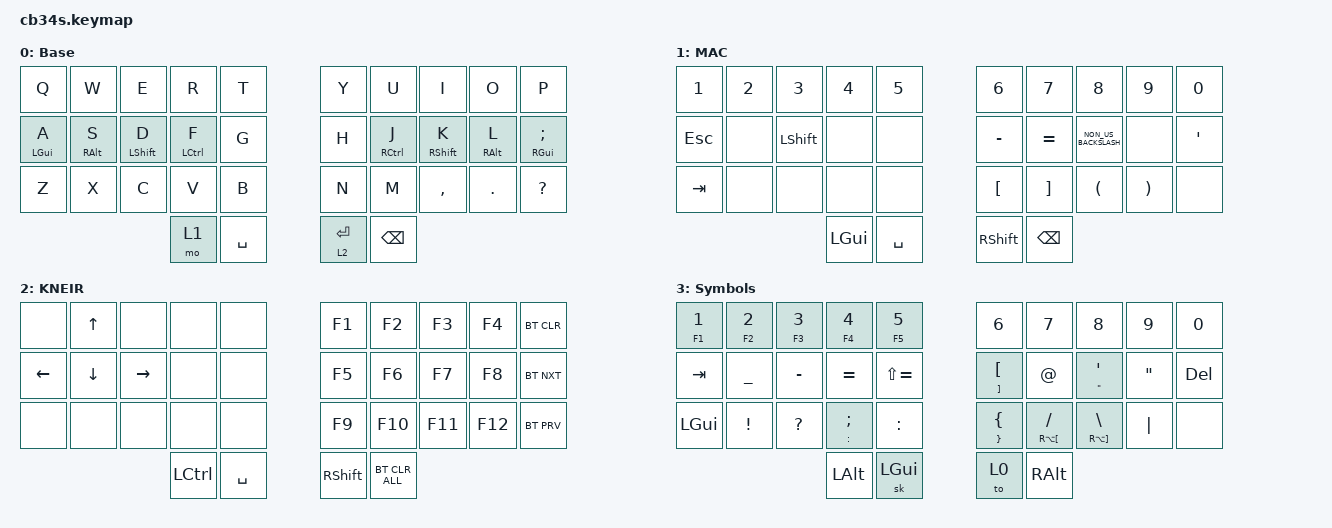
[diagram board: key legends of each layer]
/*
 * Copyright (c) 2020 The ZMK Contributors
 *
 * SPDX-License-Identifier: MIT
 */

#include <behaviors.dtsi>
#include <dt-bindings/zmk/bt.h>
#include <dt-bindings/zmk/keys.h>
#include "keymap_eurkey_swiss_de.h"

#define DEFAULT_L 	0
#define MAC_L	    1
#define KNEIR_L     2
#define NUMSYM_L 	3
#define NAV_L 		4
#define BLE_L 		5
#define COMFY_L		6
#define NUMBERS_L	7
#define COMMA_L	    8

// Using layer taps on thumbs, having quick tap as well helps w/ repeating space/backspace

&lt { quick_tap_ms = <200>; };

// Sticky Layer Behavior - release sticky behavior after x ms

&sk { release-after-ms = <1800>; };

// MACROS
// ===========================================================================================================
/*
	.----------------------------------------------------------------------.
	|  0  |  1  |  2  |  3  |  4  |          |  5  |  6  |  7  |  8  |  9  |
	|  10 |  11 |  12 |  13 |  14 |          |  15 |  16 |  17 |  18 |  19 |
	|  20 |  21 |  22 |  23 |  24 |          |  25 |  26 |  27 |  28 |  29 |
	'-----------------\  30 |  31 |          |  32 |  33 /-----------------'
	                   '--------------------------------'

*/

/ {
    macros {
        macro_sch: macro_sch {
            label = "Macro_sch";
            compatible = "zmk,behavior-macro";
            #binding-cells = <0>;
            bindings =
                <&macro_tap>,
                <&kp S>,
                <&macro_release>,
                <&kp RSHIFT>,
                <&macro_tap>,
                <&kp C &kp H>;

            tap-ms = <20>;
        };

        macro_ch: macro_ch {
            label = "Macro_ch";
            compatible = "zmk,behavior-macro";
            #binding-cells = <0>;
            bindings =
                <&macro_tap>,
                <&kp C>,
                <&macro_release>,
                <&kp RSHIFT>,
                <&macro_tap>,
                <&kp H>;

            tap-ms = <20>;
        };

        macro_zu: macro_zu {
            label = "Macro_zu";
            compatible = "zmk,behavior-macro";
            #binding-cells = <0>;
            bindings =
                <&macro_tap>,
                <&kp Z>,
                <&macro_release>,
                <&kp RSHIFT>,
                <&macro_tap>,
                <&kp U>;

            tap-ms = <20>;
        };
    };
};

// COMBOS
// ===========================================================================================================
/*
	.----------------------------------------------------------------------.
	|  0  |  1  |  2  |  3  |  4  |          |  5  |  6  |  7  |  8  |  9  |
	|  10 |  11 |  12 |  13 |  14 |          |  15 |  16 |  17 |  18 |  19 |
	|  20 |  21 |  22 |  23 |  24 |          |  25 |  26 |  27 |  28 |  29 |
	'-----------------\  30 |  31 |          |  32 |  33 /-----------------'
	                   '--------------------------------'
			
	ESC 	= 0 | 1			
	TAB 	= 11 | 12		LC(C)	= 17 | 18
							LC(V)	= 27 | 28
	ENTER 	= 12 | 13		SK(SFT) = 16 | 17       
	LPAR 	= 13 | 14		RPAR 	= 15 | 16       REPEAT 	= 18 | 19

	TO_4	= 21 | 22
	TO_0	= 22 | 23       TO_0	= 26 | 27 
	TO_3	= 20 | 21 | 22	TO_3	= 27 | 28 | 29
    TO_5    = 3  | 13       TO_5    = 6  | 16

*/

/ {
    combos {
        compatible = "zmk,combos";

        combo_esc {
            timeout-ms = <40>;
            key-positions = <0 1>;
            bindings = <&kp ESC>;
        };

        combo_tab {
            timeout-ms = <40>;
            key-positions = <11 12>;
            bindings = <&kp TAB>;
        };

        combo_enter {
            timeout-ms = <40>;
            key-positions = <12 13>;
            bindings = <&kp ENTER>;
        };

        combo_lpar {
            timeout-ms = <40>;
            key-positions = <13 14>;
            bindings = <&kp LPAR>;
        };

        combo_rpar {
            timeout-ms = <40>;
            key-positions = <15 16>;
            bindings = <&kp RPAR>;
        };

        combo_comfy_left {
            timeout-ms = <40>;
            key-positions = <21 22>;
            bindings = <&to 0>;
            layers = <0 2 3>;
        };

        combo_comfy_right {
            timeout-ms = <40>;
            key-positions = <27 28>;
            bindings = <&to 0>;
            layers = <0 2 3>;
        };

        combo_default_left {
            timeout-ms = <40>;
            key-positions = <22 23>;
            bindings = <&to 0>;
        };

        combo_sk_shift {
            timeout-ms = <40>;
            key-positions = <16 17>;
            bindings = <&sk LSHIFT>;
        };

        combo_ble_left {
            timeout-ms = <40>;
            key-positions = <20 21 22>;
            bindings = <&to 0>;
        };

        // CHECK

        combo_repeat {
            timeout-ms = <40>;
            key-positions = <18 19>;
            bindings = <&key_repeat>;
        };

        combo_default_left_MAC {
            timeout-ms = <40>;
            key-positions = <22 23>;
            bindings = <&to 1>;
            layers = <1>;
        };

        combo_comfy_left_MAC {
            timeout-ms = <40>;
            key-positions = <21 22>;
            bindings = <&to 0>;
            layers = <1>;
        };

        // BASE LAYERS

        combo_kneir_mac_layer {
            timeout-ms = <40>;
            key-positions = <6 9>;
            bindings = <&to 1>;
            layers = <0 2 3>;
        };

        combo_kneir_win_layer {
            timeout-ms = <40>;
            key-positions = <10 13>;
            bindings = <&to 2>;
            layers = <0 1 2 3>;
        };

        combo_qwerty_win_layer {
            timeout-ms = <40>;
            key-positions = <0 3>;
            bindings = <&to 0>;
            layers = <1 2>;
        };

        combo_number_layer_left {
            timeout-ms = <40>;
            key-positions = <20 23>;
            bindings = <&to 0>;
        };

        // SYMBOLS

        combo_dot {
            timeout-ms = <40>;
            key-positions = <26 27>;
            bindings = <&kp DOT>;
            layers = <2>;
        };

        combo_letter_percent {
            timeout-ms = <40>;
            key-positions = <27 28 29>;
            bindings = <&kp PERCENT>;
            layers = <2>;
        };

        // ALPHAS

        combo_letter_q {
            timeout-ms = <40>;
            key-positions = <1 2>;
            bindings = <&kp Q>;
            layers = <2>;
        };

        combo_letter_p {
            timeout-ms = <40>;
            key-positions = <2 3>;
            bindings = <&kp P>;
            layers = <2>;
        };

        combo_letter_b {
            timeout-ms = <40>;
            key-positions = <22 23>;
            bindings = <&kp B>;
            layers = <2>;
        };

        combo_letter_j {
            timeout-ms = <40>;
            key-positions = <6 7>;
            bindings = <&kp J>;
            layers = <2>;
        };

        combo_letter_k {
            timeout-ms = <40>;
            key-positions = <27 28>;
            bindings = <&kp K>;
        };

        // MACROS

        combo_sch {
            timeout-ms = <40>;
            key-positions = <2 11>;
            bindings = <&macro_sch>;
            layers = <2>;
        };

        combo_ch {
            timeout-ms = <40>;
            key-positions = <2 13>;
            bindings = <&macro_ch>;
            layers = <2>;
        };

        combo_zu {
            timeout-ms = <40>;
            key-positions = <7 8>;
            bindings = <&macro_zu>;
            layers = <2>;
        };
    };

    // BEHAVIOR    
    // ===========================================================================================================

    behaviors {
        hm: homerow_mods {
            compatible = "zmk,behavior-hold-tap";
            label = "homerow mods";
            #binding-cells = <2>;
            tapping_term_ms = <170>;
            quick_tap_ms = <0>;
            flavor = "tap-preferred";
            bindings = <&kp>, <&kp>;
        };
    };

    // KEYMAP
    // ===========================================================================================================
    // -----------------------------------------------------------------------------
    /* 0 = Default
        .----------------------------------------------------------------------.
        |Q DEL|  W  |  E  |  R  |  T  |          |  Y  |  U  |  I  |  O  |  P  |
        |  A  |  S  |  D  |  F  |  G  |          |  H  |  J  |  K  |  L  |BKSPC|
        |  Z  |  X  |  C  |  V  |  B  |          |  N  |  M  |  ,  |  .  |MO_3 |
        '-----------------\ CTRL| SPC |          | SFT | LALT/-----------------'
                           '--------------------------------'
    */

    keymap {
        compatible = "zmk,keymap";

        default_layer {
            label = "Base";
            bindings = <
&kp Q           &kp W            &kp E             &kp R        &kp T      &kp Y        &kp U          &kp I              &kp O            &kp P
&mt LEFT_GUI A  &mt RIGHT_ALT S  &mt LEFT_SHIFT D  &mt LCTRL F  &kp G      &kp H        &mt RCTRL J    &mt RIGHT_SHIFT K  &mt RIGHT_ALT L  &mt RIGHT_GUI SEMICOLON
&kp Z           &kp X            &kp C             &kp V        &kp B      &kp N        &kp M          &kp COMMA          &kp DOT          &kp QUESTION
                                                   &mo 1        &kp SPACE  &lt 2 ENTER  &kp BACKSPACE
            >;
        };

        // ===========================================================================================================
        // -----------------------------------------------------------------------------
        /* 1 = Default MAC
        .----------------------------------------------------------------------.
        |Q DEL|  W  |  C  |  V  |  X  |          |  J  |  F  |  U  |  O  |  Z  |
        |  A  |  S  |  T  |  R  |  B  |          |  K  |  N  |  E  |  I  |  H  |
        |  Y  |  G  |  L  |  D  |  P  |          |  .  |BKSPC|  K  |  ,  |MO_3 |
        '-----------------\ CTRL| SPC |          | SFT | RALT/-----------------'
                           '--------------------------------'
        */

        MAC_layer {
            label = "MAC";
            bindings = <
&kp NUMBER_1  &kp NUMBER_2  &kp NUMBER_3    &kp NUMBER_4  &kp N5     &kp NUMBER_6      &kp N7             &kp N8                &kp N9                 &kp N0
&kp ESCAPE    &none         &kp LEFT_SHIFT  &none         &none      &kp MINUS         &kp EQUAL          &kp NON_US_BACKSLASH  &none                  &kp SQT
&kp TAB       &none         &none           &none         &none      &kp LEFT_BRACKET  &kp RIGHT_BRACKET  &kp LEFT_PARENTHESIS  &kp RIGHT_PARENTHESIS  &none
                                            &kp LGUI      &kp SPACE  &kp RSHIFT        &kp BACKSPACE
            >;
        };

        // ===========================================================================================================
        // -----------------------------------------------------------------------------
        /* 2 = KNEIR Layout
        .----------------------------------------------------------------------.
        |Q DEL|  W  |  C  |  V  |  X  |          |  J  |  F  |  U  |  O  |  Z  |
        |  A  |  S  |  T  |  R  |  B  |          |  K  |  N  |  E  |  I  |  H  |
        |  Y  |  G  |  L  |  D  |  P  |          |  .  |BKSPC|  K  |  ,  |MO_3 |
        '-----------------\ CTRL| SPC |          | SFT | RALT/-----------------'
                           '--------------------------------'
        */

        KNEIR_layer {
            label = "KNEIR";
            bindings = <
&none           &kp UP_ARROW    &none      &none      &none      &kp F1      &kp F2          &kp F3   &kp F4   &bt BT_CLR
&kp LEFT_ARROW  &kp DOWN_ARROW  &kp RIGHT  &none      &none      &kp F5      &kp F6          &kp F7   &kp F8   &bt BT_NXT
&none           &none           &none      &none      &none      &kp F9      &kp F10         &kp F11  &kp F12  &bt BT_PRV
                                           &kp LCTRL  &kp SPACE  &kp RSHIFT  &bt BT_CLR_ALL
            >;
        };

        // ===========================================================================================================
        // -----------------------------------------------------------------------------
        /* 3 = Numbers and Symbols
        .----------------------------------------------------------------------.
        | 1 F1|2 F2 |3 F3 |4 F4 |5 F5 |          |  6  |  7  |  8  |  9  |  0  |
        | TAB |  _  |  -  |  =  |  +  |          | [ ] |  @  | ' " |  "  | DEL |
        | LGUI|  !  |  ?  | ; : |  :  |          | { } | / « | \ » |  |  |     |
        '-----------------\ LALT| SFT |          |TO_4 |     /-----------------'
                           '--------------------------------'
        */

        numsym_layer {
            label = "Symbols";
            bindings = <
&mt F1 N1  &mt F2 N2  &mt F3 N3  &mt F4 N4       &mt F5 N5      &kp N6         &kp N7             &kp N8             &kp N9    &kp N0
&kp TAB    &kp UNDER  &kp MINUS  &kp EQUAL       &kp LS(EQUAL)  &mt RBKT LBKT  &kp AT             &mt DQT SQT        &kp DQT   &kp DEL
&kp LGUI   &kp EXCL   &kp QMARK  &mt COLON SEMI  &kp COLON      &mt RBRC LBRC  &mt RA(LBKT) FSLH  &mt RA(RBKT) BSLH  &kp PIPE  &none
                                 &kp LALT        &sk LEFT_GUI   &to 0          &kp RALT
            >;
        };

        // ===========================================================================================================
        // -----------------------------------------------------------------------------
        /* 4 = Navigation
        .----------------------------------------------------------------------.
        | ESC |  O  |  E  |  R  |  P  |          |PGUP | ← ← |  ↑  | → → | DEL |
        | DEL |  S  |  D  |  F  |  L  |          |PGDN |  ←  |  ↓  |  →  |BKSPC|
        | SFT |  X  |  C  |  V  |TO_0 |          |HOME |  `  |  ~  |     |TO_0 |
        '-----------------\ CTRL| SPC |          |SHFT |CTRL /-----------------'
                           '--------------------------------'
        */
        // ===========================================================================================================
        // -----------------------------------------------------------------------------
        /* 5 = Bluetooth
        .----------------------------------------------------------------------.
        | BT0 | BT1 | BT2 | BTP | BTN |     	 | BTN | BTP | BT2 | BT1 | BT0 |
        |     |     |     |     | BLC |     	 | BLC |     |     |     |     |
        |TO_0 |     |     |     | BLO |          | BLO |     |     |	 |TO_0 |
        '-----------------\     |TO_0 |          |TO_0 |     /-----------------'
                           '--------------------------------'
        */
        // ===========================================================================================================
        // -----------------------------------------------------------------------------
        /* 6 = Comfort
        .----------------------------------------------------------------------.
        | TIL |PGUP |  ↑  |PGDN |  ^  |     	 |PGUP | ← ← |  ↑  | → → | DEL |
        | DEL |  ←  |  ↓  |  →  |  <  |     	 |PGDN |  ←  |  ↓  |  →  |BKSPC|
        | SFT | DEL |BKSPC|     |  >  |          |HOME |  `  |  ~  |     |TO_0 |
        '-----------------\ CTRL| SPC |          |SHFT |CTRL /-----------------'
                           '--------------------------------'
        */
        // ===========================================================================================================
        // -----------------------------------------------------------------------------
        /* 7 = Numbers
        .----------------------------------------------------------------------.
        |  /  |  7  |  8  |  9  |  *  |     	 |  #  | ← ← |  ↑  | → → | DEL |
        |  \  |  4  |  5  |  6  |  +  |     	 |  &  |  ←  |  ↓  |  →  |BKSPC|
        |  0  |  1  |  2  |  3  |  -  |          |  |  |  `  |  ,  |  .  |TO_1 |
        '-----------------\ LGUI| SPC |          |SHFT |LCTRL/-----------------'
                           '--------------------------------'
        */
        // ===========================================================================================================
        // -----------------------------------------------------------------------------
        /* 8 = Comfort MAC
        .----------------------------------------------------------------------.
        | TIL | ← ← |  ↑  | → → |  ^  |     	 |PGUP | ← ← |  ↑  | → → | DEL |
        | DEL |  ←  |  ↓  |  →  |  <  |     	 |PGDN |  ←  |  ↓  |  →  |BKSPC|
        | SFT | DEL |BKSPC|     |  >  |          |HOME |  `  |  ~  |     |TO_1 |
        '-----------------\LALT | SPC |          |SHFT |RCTRL/-----------------'
                           '--------------------------------'
        */
    };
};

// ===========================================================================================================
